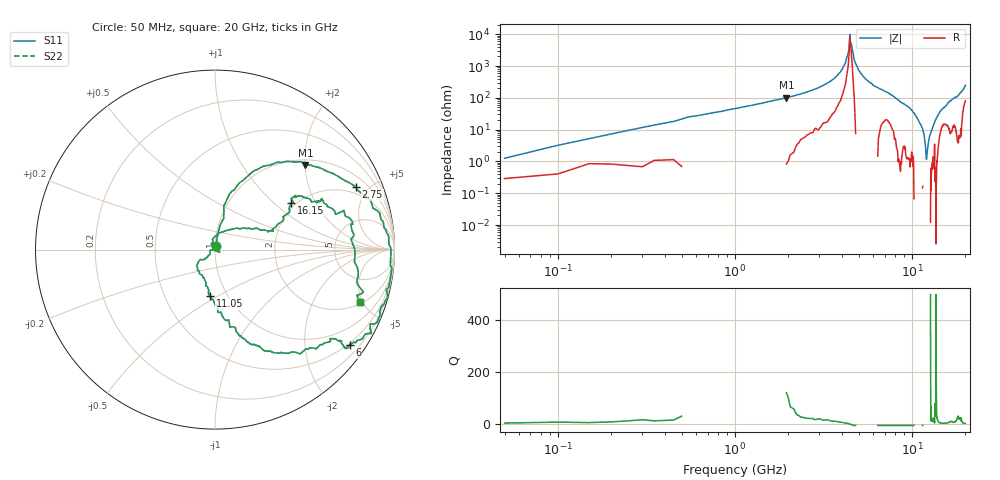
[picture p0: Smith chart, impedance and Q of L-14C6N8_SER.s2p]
# MHZ S MA R 50
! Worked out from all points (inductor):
!   400 points, 50 MHz to 20 GHz, reference 50 ohm
!   read as one part in series: L = 5.79 nH near 150 MHz
!   highest Q = 58.9 at 1.95 GHz (marker M1), where L = 8.21 nH
!   self-resonance near 4.45 GHz
!   S11 on the Smith chart (normalised r, x): 50 MHz: 1.01, +0.04; 2.75 GHz: 1.56, +4.17; 6 GHz: 0.45, -3.09; 11.05 GHz: 0.83, -0.46; 16.15 GHz: 1.88, +1.32; 20 GHz: 2.17, -4.82
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50  0.02 72.4  1 -0.3  1 -0.3  0.02 72.4
200  0.08 79.5  0.99 -3.7  0.99 -3.7  0.08 79.5
550  0.25 78.6  0.96 -13.9  0.96 -13.9  0.25 78.6
1950  0.69 43.1  0.7 -46.9  0.7 -46.9  0.69 43.1
2750  0.86 23.9  0.5 -63.2  0.5 -63.2  0.86 23.9
3400  0.94 10.3  0.31 -75.6  0.31 -75.6  0.94 10.3
4200  0.99 -5.9  0.08 -83.3  0.08 -83.3  0.99 -5.9
4400  0.99 -10.3  0.03 -62.2  0.03 -62.2  0.99 -10.3
4450  0.99 -11.4  0.01 -46.9  0.01 -46.9  0.99 -11.4
4700  0.99 -16.6  0.06 69.0  0.06 69.0  0.99 -16.6
4950  0.99 -21.3  0.12 71.5  0.12 71.5  0.99 -21.3
6000  0.92 -35.2  0.34 57.9  0.34 57.9  0.92 -35.2
6700  0.87 -36.3  0.45 49.4  0.45 49.4  0.87 -36.3
10050  0.44 -79.1  0.87 14.0  0.87 14.0  0.44 -79.1
11050  0.26 -96.2  0.93 3.0  0.93 3.0  0.26 -96.2
12450  0.14 -136.5  0.94 -11.7  0.94 -11.7  0.14 -136.5
13350  0.02 -179.2  0.96 -18.9  0.96 -18.9  0.02 -179.2
14450  0.23 31.1  0.94 -30.4  0.94 -30.4  0.23 31.1
16150  0.5 31.6  0.82 -47.3  0.82 -47.3  0.5 31.6
16700  0.56 32.0  0.78 -50.3  0.78 -50.3  0.56 32.0
18550  0.75 16.9  0.61 -70.6  0.61 -70.6  0.75 16.9
20000  0.86 -19.7  0.35 -88.6  0.35 -88.6  0.86 -19.7
